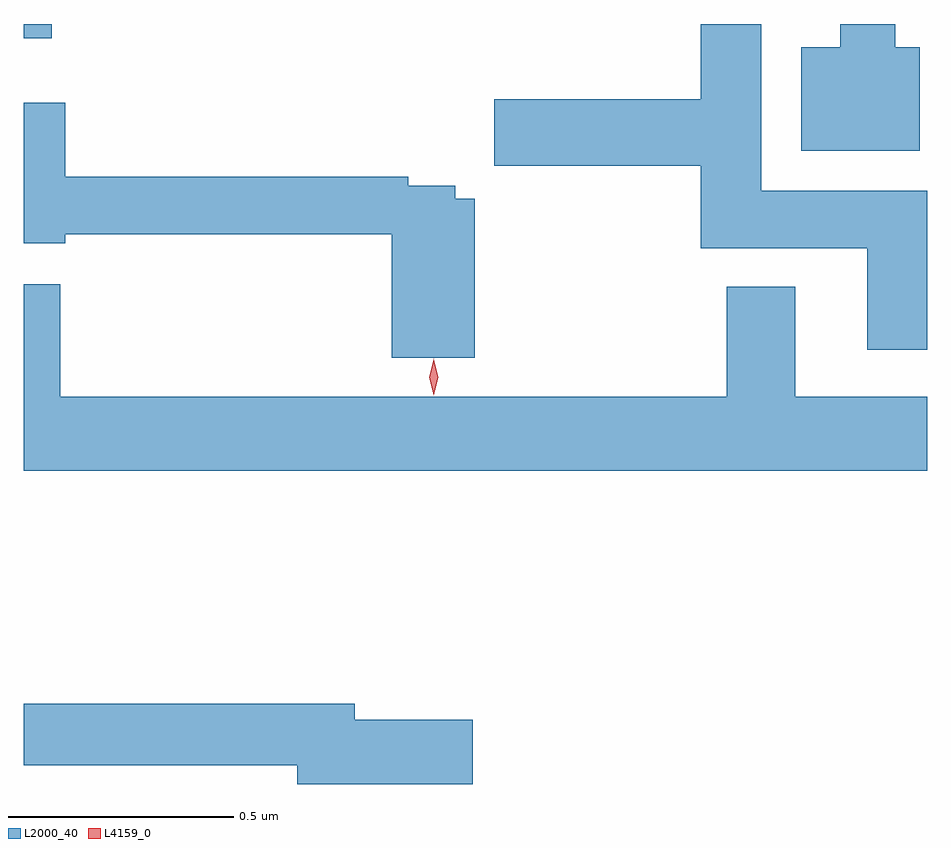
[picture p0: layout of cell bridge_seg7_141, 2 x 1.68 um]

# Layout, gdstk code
import gdstk
lib = gdstk.Library(unit=1e-6, precision=1e-09)
def R(c, l, rs):  # rectangles x0, y0, x1, y1
    for r in rs: c.add(gdstk.rectangle(r[:2], r[2:], *l))
def P(c, l, *ps):  # polygons
    for p in ps: c.add(gdstk.Polygon(p, *l))
L2000_40 = (2000, 40)
L4159_0 = (4159, 0)

bridge_seg7_141 = lib.new_cell('bridge_seg7_141')
R(bridge_seg7_141, L2000_40, [(822.303,1026.881,822.365,1026.913)])
P(bridge_seg7_141, L2000_40, [(824.287,1026.862),(824.233,1026.862),(824.233,1026.913),(824.111,1026.913),(824.111,1026.862),(824.024,1026.862),(824.024,1026.632),(824.287,1026.632)],
  [(824.303,1026.544),(823.936,1026.544),(823.936,1026.913),(823.802,1026.913),(823.802,1026.746),(823.344,1026.746),(823.344,1026.599),(823.802,1026.599),(823.802,1026.416),(824.171,1026.416),(824.171,1026.192),(824.303,1026.192)],
  [(823.301,1026.526),(823.258,1026.526),(823.258,1026.555),(823.154,1026.555),(823.154,1026.575),(822.395,1026.575),(822.395,1026.739),(822.303,1026.739),(822.303,1026.428),(822.395,1026.428),(822.395,1026.447),(823.118,1026.447),(823.118,1026.174),(823.301,1026.174)],
  [(824.303,1026.088),(824.011,1026.088),(824.011,1026.331),(823.859,1026.331),(823.859,1026.088),(822.383,1026.088),(822.383,1026.337),(822.303,1026.337),(822.303,1025.924),(824.303,1025.924)],
  [(823.297,1025.372),(823.036,1025.372),(823.036,1025.408),(822.303,1025.408),(822.303,1025.272),(822.908,1025.272),(822.908,1025.23),(823.297,1025.23)])
P(bridge_seg7_141, L4159_0, [(823.211,1026.091),(823.211,1026.091),(823.201,1026.131),(823.211,1026.171),(823.211,1026.172),(823.211,1026.171),(823.221,1026.131),(823.211,1026.091)])

lib.write_gds('bridge_seg7_141.gds')
